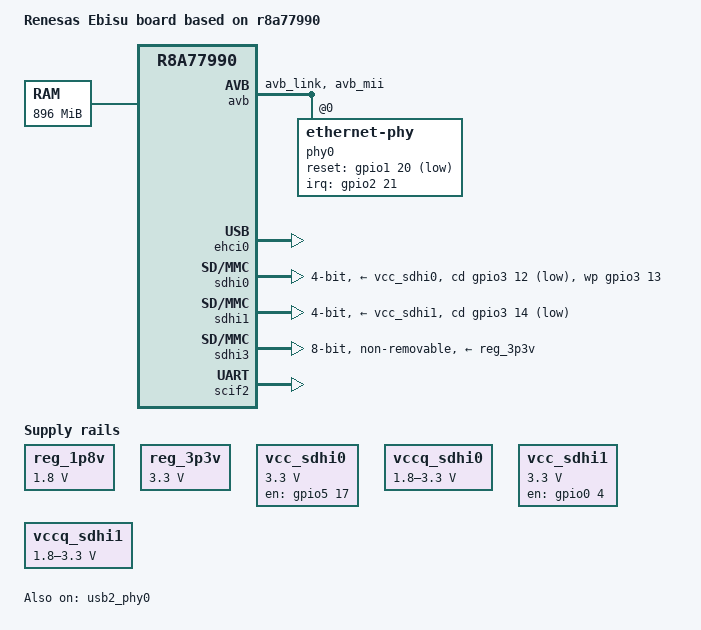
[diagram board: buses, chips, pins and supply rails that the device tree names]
/* SPDX-License-Identifier: GPL-2.0 */
/*
 * Device Tree Source for the ebisu board
 *
 * Copyright (C) 2018 Renesas Electronics Corp.
 */

/dts-v1/;
#include "r8a77990.dtsi"
#include <dt-bindings/gpio/gpio.h>

/ {
	model = "Renesas Ebisu board based on r8a77990";
	compatible = "renesas,ebisu", "renesas,r8a77990";

	aliases {
		serial0 = &scif2;
		ethernet0 = &avb;
	};

	chosen {
		bootargs = "ignore_loglevel";
		stdout-path = "serial0:115200n8";
	};

	memory@48000000 {
		device_type = "memory";
		/* first 128MB is reserved for secure area. */
		reg = <0x0 0x48000000 0x0 0x38000000>;
	};

	reg_1p8v: regulator0 {
		compatible = "regulator-fixed";
		regulator-name = "fixed-1.8V";
		regulator-min-microvolt = <1800000>;
		regulator-max-microvolt = <1800000>;
		regulator-boot-on;
		regulator-always-on;
	};

	reg_3p3v: regulator1 {
		compatible = "regulator-fixed";
		regulator-name = "fixed-3.3V";
		regulator-min-microvolt = <3300000>;
		regulator-max-microvolt = <3300000>;
		regulator-boot-on;
		regulator-always-on;
	};

	vcc_sdhi0: regulator-vcc-sdhi0 {
		compatible = "regulator-fixed";

		regulator-name = "SDHI0 Vcc";
		regulator-min-microvolt = <3300000>;
		regulator-max-microvolt = <3300000>;

		gpio = <&gpio5 17 GPIO_ACTIVE_HIGH>;
		enable-active-high;
	};

	vccq_sdhi0: regulator-vccq-sdhi0 {
		compatible = "regulator-gpio";

		regulator-name = "SDHI0 VccQ";
		regulator-min-microvolt = <1800000>;
		regulator-max-microvolt = <3300000>;

		gpios = <&gpio5 18 GPIO_ACTIVE_HIGH>;
		gpios-states = <1>;
		states = <3300000 1
			  1800000 0>;
	};

	vcc_sdhi1: regulator-vcc-sdhi1 {
		compatible = "regulator-fixed";

		regulator-name = "SDHI1 Vcc";
		regulator-min-microvolt = <3300000>;
		regulator-max-microvolt = <3300000>;

		gpio = <&gpio0 4 GPIO_ACTIVE_HIGH>;
		enable-active-high;
	};

	vccq_sdhi1: regulator-vccq-sdhi1 {
		compatible = "regulator-gpio";

		regulator-name = "SDHI1 VccQ";
		regulator-min-microvolt = <1800000>;
		regulator-max-microvolt = <3300000>;

		gpios = <&gpio3 15 GPIO_ACTIVE_HIGH>;
		gpios-states = <1>;
		states = <3300000 1
			  1800000 0>;
	};
};

&avb {
	pinctrl-0 = <&avb_pins>;
	pinctrl-names = "default";
	renesas,no-ether-link;
	phy-handle = <&phy0>;
	phy-mode = "rgmii-txid";
	status = "okay";

	phy0: ethernet-phy@0 {
		rxc-skew-ps = <1500>;
		reg = <0>;
		interrupt-parent = <&gpio2>;
		interrupts = <21 IRQ_TYPE_LEVEL_LOW>;
		reset-gpios = <&gpio1 20 GPIO_ACTIVE_LOW>;
	};
};

&ehci0 {
	status = "okay";
};

&extal_clk {
	clock-frequency = <48000000>;
};

&pfc {
	avb_pins: avb {
		mux {
			groups = "avb_link", "avb_mii";
			function = "avb";
		};
	};

	usb0_pins: usb0 {
		groups = "usb0";
		function = "usb0";
	};
};

&usb2_phy0 {
	pinctrl-0 = <&usb0_pins>;
	pinctrl-name = "default";

	status = "okay";
};

&sdhi0 {
	/* full size SD */
	pinctrl-0 = <&sdhi0_pins>;
	pinctrl-1 = <&sdhi0_pins_uhs>;
	pinctrl-names = "default", "state_uhs";

	vmmc-supply = <&vcc_sdhi0>;
	vqmmc-supply = <&vccq_sdhi0>;
	cd-gpios = <&gpio3 12 GPIO_ACTIVE_LOW>;
	wp-gpios = <&gpio3 13 GPIO_ACTIVE_HIGH>;
	bus-width = <4>;
	sd-uhs-sdr12;
	sd-uhs-sdr25;
	sd-uhs-sdr50;
	sd-uhs-sdr104;
	status = "okay";
	max-frequency = <208000000>;
};

&sdhi1 {
	/* microSD */
	pinctrl-0 = <&sdhi1_pins>;
	pinctrl-1 = <&sdhi1_pins_uhs>;
	pinctrl-names = "default", "state_uhs";

	vmmc-supply = <&vcc_sdhi1>;
	vqmmc-supply = <&vccq_sdhi1>;
	cd-gpios = <&gpio3 14 GPIO_ACTIVE_LOW>;
	bus-width = <4>;
	sd-uhs-sdr12;
	sd-uhs-sdr25;
	sd-uhs-sdr50;
	sd-uhs-sdr104;
	status = "okay";
	max-frequency = <208000000>;
};

&sdhi3 {
	/* used for on-board 8bit eMMC */
	pinctrl-0 = <&sdhi3_pins>;
	pinctrl-1 = <&sdhi3_pins_uhs>;
	pinctrl-names = "default", "state_uhs";

	vmmc-supply = <&reg_3p3v>;
	vqmmc-supply = <&reg_1p8v>;
	bus-width = <8>;
	mmc-hs200-1_8v;
	mmc-hs400-1_8v;
	non-removable;
	status = "okay";
};

&scif2 {
	status = "okay";
};
